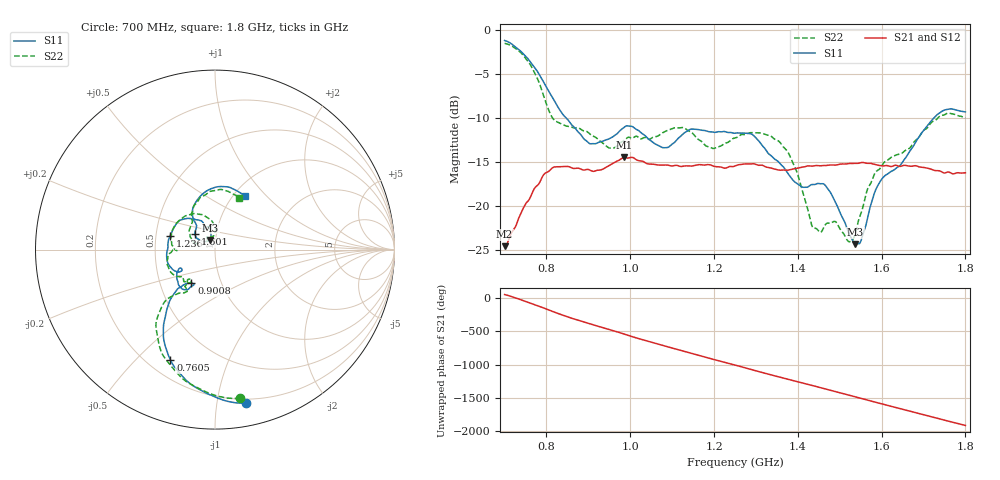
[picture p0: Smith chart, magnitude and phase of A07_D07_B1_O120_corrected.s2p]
! Created with skrf 1.9.0 (http://scikit-rf.org).
# Hz S RI R 50.0
!freq ReS11 ImS11 ReS21 ImS21 ReS12 ImS12 ReS22 ImS22
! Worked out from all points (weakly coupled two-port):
!   1601 points, 700 MHz to 1.8 GHz, reference 50 ohm
!   highest |S21| = -14.47 dB at 986 MHz (marker M1); lowest = -24.6 dB at 700 MHz (marker M2)
!   lowest |S11| = -24.4 dB at 1.537 GHz (marker M3), VSWR 1.13, Z = 47.1 + j5.12 ohm
!   |S11| at or under -10 dB: 847.1 MHz to 1.725 GHz (877.6 MHz wide, 68.3 % of centre)
!   |S22| runs from -24.1 to -1.5 dB; largest |S21 - S12| = 0.0036
!   S11 on the Smith chart (normalised r, x): 700 MHz: 0.17, -1.21; 760.5 MHz: 0.29, -0.64; 900.8 MHz: 0.72, -0.28; 1.236 GHz: 0.59, +0.10; 1.601 GHz: 0.79, +0.14; 1.8 GHz: 1.12, +0.76
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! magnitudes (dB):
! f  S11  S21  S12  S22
! 700 MHz  -1.2  -24.6  -24.4  -1.5
! 760.5 MHz  -3.6  -19.1  -19.0  -3.9
! 816.2 MHz  -7.8  -15.6  -15.7  -10.1
! 883.6 MHz  -12.0  -15.9  -15.8  -11.3
! 900.8 MHz  -12.8  -15.9  -15.9  -11.7
! 951.6 MHz  -12.3  -15.4  -15.4  -13.4
! 986 MHz  -11.0  -14.5  -14.6  -12.5
! 1.067 GHz  -13.1  -15.4  -15.3  -12.0
! 1.145 GHz  -11.3  -15.5  -15.5  -11.6
! 1.236 GHz  -11.7  -15.5  -15.6  -12.7
! 1.25 GHz  -11.7  -15.5  -15.4  -12.3
! 1.358 GHz  -15.2  -15.9  -15.9  -12.8
! 1.396 GHz  -17.4  -15.7  -15.7  -16.0
! 1.434 GHz  -17.6  -15.5  -15.4  -22.3
! 1.471 GHz  -18.0  -15.4  -15.4  -22.0
! 1.522 GHz  -23.2  -15.2  -15.2  -24.1
! 1.537 GHz  -24.4  -15.2  -15.2  -23.1
! 1.567 GHz  -21.3  -15.2  -15.1  -18.0
! 1.601 GHz  -16.9  -15.4  -15.4  -15.4
! 1.617 GHz  -16.3  -15.5  -15.4  -14.7
! 1.735 GHz  -9.5  -16.0  -16.1  -9.9
! 1.8 GHz  -9.3  -16.2  -16.2  -10.0
